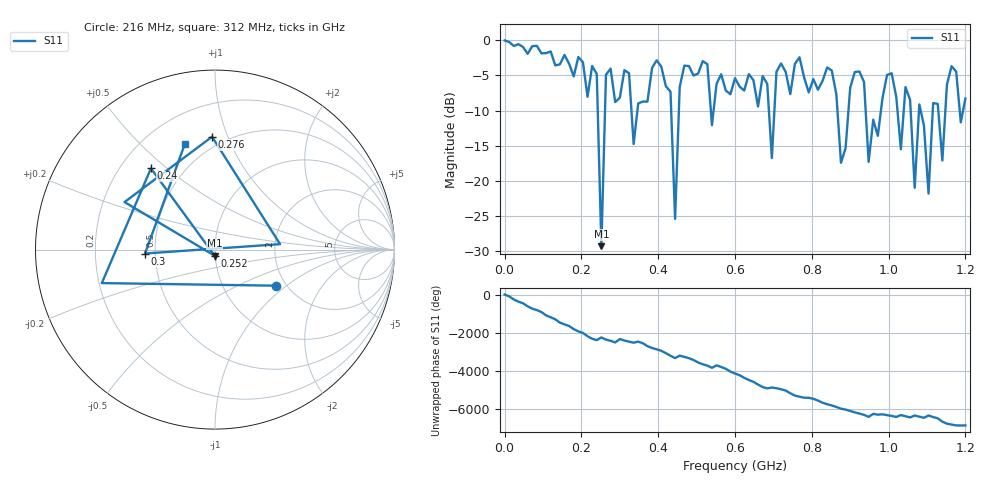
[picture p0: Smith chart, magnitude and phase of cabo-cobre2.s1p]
# HZ S RI R 50
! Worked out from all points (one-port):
!   101 points, 50 kHz to 1.2 GHz, reference 50 ohm
!   lowest |S11| = -29.3 dB at 252 MHz (marker M1), VSWR 1.07, Z = 49.7 - j3.42 ohm
!   |S11| at or under -10 dB: 866.8 MHz to 895.5 MHz (28.62 MHz wide, 3.25 % of centre); 940.3 MHz to 980.1 MHz (39.77 MHz wide, 4.14 % of centre); 1.084 GHz to 1.115 GHz (31.44 MHz wide, 2.86 % of centre) (the widest 3 of 12)
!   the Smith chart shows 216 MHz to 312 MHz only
!   S11 on the Smith chart (normalised r, x): 216 MHz: 1.78, -0.85; 240 MHz: 0.33, +0.44; 252 MHz: 0.99, -0.07; 276 MHz: 0.42, +0.88; 300 MHz: 0.44, -0.02; 312 MHz: 0.36, +0.69
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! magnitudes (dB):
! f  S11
! 50 kHz  0.0
! 156 MHz  -2.1
! 216 MHz  -8.0
! 240 MHz  -4.8
! 252 MHz  -29.3
! 264 MHz  -4.9
! 276 MHz  -4.0
! 300 MHz  -8.2
! 312 MHz  -4.3
! 336 MHz  -14.8
! 432 MHz  -7.3
! 444 MHz  -25.4
! 456 MHz  -6.6
! 600 MHz  -5.4
! 684 MHz  -6.2
! 696 MHz  -16.8
! 708 MHz  -4.5
! 756 MHz  -3.4
! 852 MHz  -4.3
! 876 MHz  -17.4
! 900 MHz  -6.7
! 948 MHz  -17.3
! 1.056 GHz  -8.5
! 1.068 GHz  -21.0
! 1.08 GHz  -9.1
! 1.104 GHz  -21.8
! 1.116 GHz  -8.9
! 1.2 GHz  -8.3
